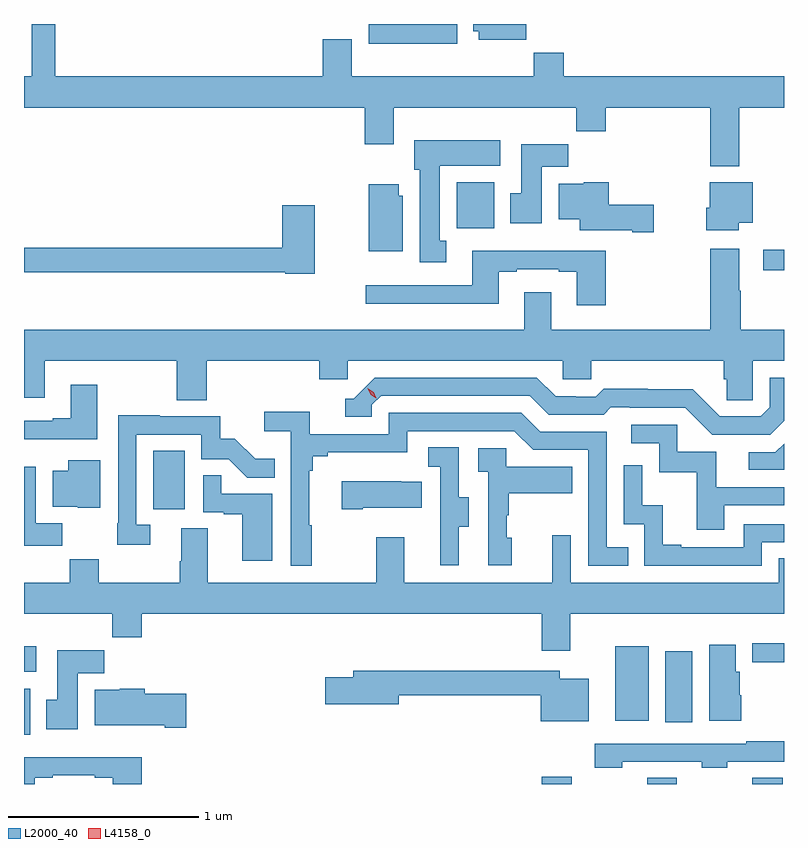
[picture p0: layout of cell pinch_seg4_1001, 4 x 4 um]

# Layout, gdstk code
import gdstk
lib = gdstk.Library(unit=1e-6, precision=1e-09)
def R(c, l, rs):  # rectangles x0, y0, x1, y1
    for r in rs: c.add(gdstk.rectangle(r[:2], r[2:], *l))
def P(c, l, *ps):  # polygons
    for p in ps: c.add(gdstk.Polygon(p, *l))
L2000_40 = (2000, 40)
L4158_0 = (4158, 0)

pinch_seg4_1001 = lib.new_cell('pinch_seg4_1001')
R(pinch_seg4_1001, L2000_40, [(810.053,773.28,810.213,773.317), (810.61,773.28,810.764,773.312), (811.162,773.28,811.322,773.312), (807.329,773.54,807.361,773.782), (810.704,773.604,810.847,773.98), (810.44,773.612,810.616,774.004), (807.329,773.87,807.394,774.004), (811.161,773.92,811.329,774.022), (808.01,774.726,808.174,775.033), (811.221,775.983,811.329,776.093), (809.606,776.204,809.803,776.446), (809.144,777.176,809.608,777.28)])
P(pinch_seg4_1001, L2000_40, [(811.093,776.84),(811.329,776.84),(811.329,777.004),(810.17,777.004),(810.17,777.128),(810.013,777.128),(810.013,777.004),(809.053,777.004),(809.053,777.199),(808.901,777.199),(808.901,777.004),(807.493,777.004),(807.493,777.28),(807.371,777.28),(807.371,777.004),(807.329,777.004),(807.329,776.84),(809.123,776.84),(809.123,776.646),(809.275,776.646),(809.275,776.84),(810.235,776.84),(810.235,776.716),(810.392,776.716),(810.392,776.84),(810.941,776.84),(810.941,776.531),(811.093,776.531)],
  [(809.972,777.28),(809.693,777.28),(809.693,777.242),(809.723,777.242),(809.723,777.198),(809.972,777.198)],
  [(809.551,776.138),(809.518,776.138),(809.518,776.534),(809.836,776.534),(809.836,776.668),(809.384,776.668),(809.384,776.514),(809.411,776.514),(809.411,776.025),(809.551,776.025)],
  [(810.055,776.528),(810.194,776.528),(810.194,776.647),(809.945,776.647),(809.945,776.388),(809.888,776.388),(809.888,776.232),(810.055,776.232)],
  [(810.643,776.33),(810.407,776.33),(810.407,776.446),(810.276,776.446),(810.276,776.44),(810.143,776.44),(810.143,776.252),(810.254,776.252),(810.254,776.195),(810.53,776.195),(810.53,776.183),(810.643,776.183)],
  [(811.091,776.234),(811.165,776.234),(811.165,776.446),(810.938,776.446),(810.938,776.313),(810.92,776.313),(810.92,776.195),(811.091,776.195)],
  [(809.323,776.376),(809.302,776.376),(809.302,776.437),(809.144,776.437),(809.144,776.084),(809.323,776.084)],
  [(808.858,776.326),(808.688,776.326),(808.688,776.102),(807.329,776.102),(807.329,775.974),(808.704,775.974),(808.704,775.966),(808.858,775.966)],
  [(808.292,775.508),(808.883,775.508),(808.883,775.41),(809.034,775.41),(809.034,775.508),(810.165,775.508),(810.165,775.41),(810.315,775.41),(810.315,775.508),(811.013,775.508),(811.013,775.41),(811.027,775.41),(811.027,775.3),(811.164,775.3),(811.164,775.508),(811.329,775.508),(811.329,775.672),(811.101,775.672),(811.101,775.877),(811.093,775.877),(811.093,776.098),(810.941,776.098),(810.941,775.672),(810.103,775.672),(810.103,775.867),(809.963,775.867),(809.963,775.672),(807.329,775.672),(807.329,775.314),(807.439,775.314),(807.439,775.508),(808.132,775.508),(808.132,775.3),(808.292,775.3)],
  [(810.392,776.086),(809.687,776.086),(809.687,775.905),(809.127,775.905),(809.127,775.808),(809.827,775.808),(809.827,775.977),(809.923,775.977),(809.923,775.989),(810.143,775.989),(810.143,775.977),(810.239,775.977),(810.239,775.8),(810.392,775.8)],
  [(811.329,775.191),(811.329,775.419),(811.254,775.419),(811.254,775.263),(811.206,775.215),(810.99,775.215),(810.848,775.357),(810.612,775.357),(810.612,775.36),(810.379,775.36),(810.337,775.317),(810.234,775.317),(810.234,775.32),(810.127,775.32),(810.028,775.419),(809.175,775.419),(809.064,775.308),(809.021,775.308),(809.021,775.212),(809.16,775.212),(809.16,775.275),(809.208,775.323),(809.991,775.323),(810.09,775.224),(810.379,775.224),(810.418,775.263),(810.517,775.263),(810.517,775.26),(810.81,775.26),(810.951,775.119),(811.257,775.119)],
  [(807.715,775.381),(807.575,775.381),(807.575,775.204),(807.479,775.204),(807.479,775.191),(807.329,775.191),(807.329,775.094),(807.715,775.094)],
  [(808.843,774.641),(808.831,774.641),(808.831,774.929),(808.85,774.929),(808.85,775.006),(808.927,775.006),(808.927,775.025),(809.346,775.025),(809.346,775.137),(809.91,775.137),(810.009,775.038),(810.3,775.038),(810.3,774.429),(810.509,774.429),(810.509,774.525),(810.396,774.525),(810.396,775.134),(810.046,775.134),(809.947,775.233),(809.25,775.233),(809.25,775.122),(808.832,775.122),(808.832,775.238),(808.593,775.238),(808.593,775.136),(808.734,775.136),(808.734,774.429),(808.843,774.429)],
  [(807.994,774.645),(807.921,774.645),(807.921,775.119),(808.263,775.119),(808.263,774.99),(808.407,774.99),(808.505,774.892),(808.649,774.892),(808.649,774.991),(808.545,774.991),(808.438,775.098),(808.362,775.098),(808.362,775.215),(808.043,775.215),(808.043,775.22),(807.825,775.22),(807.825,774.652),(807.82,774.652),(807.82,774.54),(807.994,774.54)],
  [(811.015,774.747),(811.329,774.747),(811.329,774.843),(810.973,774.843),(810.973,775.029),(810.768,775.029),(810.768,775.17),(810.525,775.17),(810.525,775.074),(810.672,775.074),(810.672,774.921),(810.871,774.921),(810.871,774.618),(811.015,774.618)],
  [(811.329,775.071),(811.284,775.026),(811.143,775.026),(811.143,774.933),(811.329,774.933)],
  [(809.617,774.634),(809.671,774.634),(809.671,774.789),(809.616,774.789),(809.616,775.052),(809.457,775.052),(809.457,774.949),(809.52,774.949),(809.52,774.645),(809.519,774.645),(809.519,774.432),(809.617,774.432)],
  [(809.896,774.576),(809.871,774.576),(809.871,774.695),(809.881,774.695),(809.881,774.809),(810.215,774.809),(810.215,774.949),(809.868,774.949),(809.868,775.047),(809.721,775.047),(809.721,774.923),(809.772,774.923),(809.772,774.432),(809.896,774.432)],
  [(807.73,774.985),(807.563,774.985),(807.563,774.928),(807.479,774.928),(807.479,774.74),(807.612,774.74),(807.612,774.734),(807.73,774.734)],
  [(811.212,774.552),(811.329,774.552),(811.329,774.648),(811.116,774.648),(811.116,774.525),(810.787,774.525),(810.787,774.538),(810.692,774.538),(810.692,774.746),(810.582,774.746),(810.582,774.958),(810.486,774.958),(810.486,774.648),(810.594,774.648),(810.594,774.429),(811.212,774.429)],
  [(807.53,774.652),(807.391,774.652),(807.391,774.949),(807.329,774.949),(807.329,774.534),(807.53,774.534)],
  [(808.636,774.807),(808.367,774.807),(808.367,774.905),(808.272,774.905),(808.272,774.711),(808.379,774.711),(808.379,774.699),(808.478,774.699),(808.478,774.456),(808.636,774.456)],
  [(809.113,774.734),(809.423,774.734),(809.423,774.871),(809.315,774.871),(809.315,774.874),(809.001,774.874),(809.001,774.727),(809.113,774.727)],
  [(810.205,774.176),(811.329,774.176),(811.329,774.467),(811.302,774.467),(811.302,774.34),(810.207,774.34),(810.207,774.589),(810.11,774.589),(810.11,774.34),(809.329,774.34),(809.329,774.58),(809.182,774.58),(809.182,774.34),(808.297,774.34),(808.297,774.626),(808.157,774.626),(808.157,774.452),(808.15,774.452),(808.15,774.34),(807.723,774.34),(807.723,774.464),(807.571,774.464),(807.571,774.34),(807.329,774.34),(807.329,774.176),(807.793,774.176),(807.793,774.052),(807.95,774.052),(807.95,774.176),(810.053,774.176),(810.053,773.982),(810.205,773.982)],
  [(811.105,773.748),(811.096,773.748),(811.096,773.871),(811.075,773.871),(811.075,774.013),(810.935,774.013),(810.935,773.612),(811.105,773.612)],
  [(807.613,773.864),(807.752,773.864),(807.752,773.983),(807.503,773.983),(807.503,773.724),(807.446,773.724),(807.446,773.568),(807.613,773.568)],
  [(810.301,773.833),(810.148,773.833),(810.148,773.875),(809.063,773.875),(809.063,773.841),(808.914,773.841),(808.914,773.699),(809.302,773.699),(809.302,773.746),(810.05,773.746),(810.05,773.609),(810.301,773.609)],
  [(808.183,773.754),(807.965,773.754),(807.965,773.782),(807.834,773.782),(807.834,773.776),(807.701,773.776),(807.701,773.588),(808.07,773.588),(808.07,773.576),(808.183,773.576)],
  [(810.477,773.397),(810.897,773.397),(810.897,773.365),(811.029,773.365),(811.029,773.397),(811.329,773.397),(811.329,773.506),(811.129,773.506),(811.129,773.493),(810.333,773.493),(810.333,773.365),(810.477,773.365)],
  [(807.385,773.313),(807.481,773.313),(807.481,773.325),(807.701,773.325),(807.701,773.313),(807.797,773.313),(807.797,773.28),(807.95,773.28),(807.95,773.422),(807.329,773.422),(807.329,773.28),(807.385,773.28)])
P(pinch_seg4_1001, L4158_0, [(809.184,775.309),(809.154,775.329),(809.138,775.363),(809.138,775.363),(809.139,775.363),(809.169,775.342),(809.184,775.309),(809.184,775.309)])

lib.write_gds('pinch_seg4_1001.gds')
